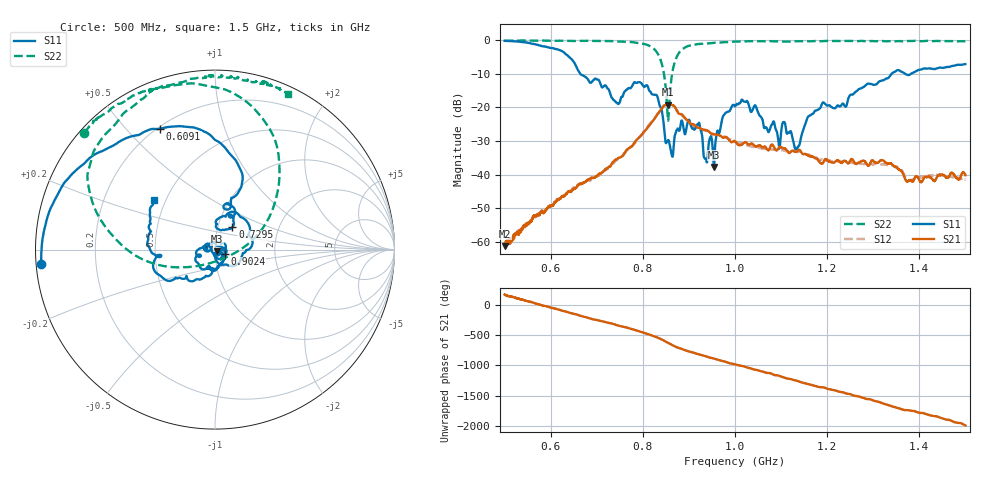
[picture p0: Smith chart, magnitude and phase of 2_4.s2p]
!Agilent Technologies,E8364B,US42250235,A.06.04.32
!Agilent E8364B: A.06.04.32
!Date: Thursday, October 01, 2020 14:38:39
!Correction: S11(Full 2 Port(1,2)) S21(Full 2 Port(1,2)) S12(Full 2 Port(1,2)) S22(Full 2 Port(1,2))
!S2P File: Measurements: S11, S21, S12, S22:
# Hz S  dB  R 50
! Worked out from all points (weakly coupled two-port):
!   2650 points, 500 MHz to 1.5 GHz, reference 50 ohm
!   highest |S21| = -19.19 dB at 853.7 MHz (marker M1); lowest = -61.1 dB at 500.4 MHz (marker M2)
!   lowest |S11| = -37.7 dB at 954.1 MHz (marker M3), VSWR 1.03, Z = 50.9 - j0.921 ohm
!   |S11| at or under -10 dB: 663.9 MHz to 1.34 GHz (676 MHz wide, 67.5 % of centre); 1.369 GHz to 1.382 GHz (13.18 MHz wide, 0.958 % of centre)
!   |S22| runs from -24.0 to -0.1 dB; largest |S21 - S12| = 0.0049
!   S11 on the Smith chart (normalised r, x): 500 MHz: 0.01, -0.04; 609.1 MHz: 0.21, +0.62; 729.5 MHz: 1.17, +0.30; 902.4 MHz: 1.11, -0.06; 1.5 GHz: 0.43, +0.30
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5e8  -0.24 -175.2  -60.72 166.0  -61.19 165.9  -0.18 138.3
5.003775e8  -0.25 -175.4  -61.11 164.0  -60.39 160.9  -0.18 138.2
6.090978e8  -2.62 114.4  -48.15 -63.3  -47.91 -65.5  -0.25 127.6
6.668554e8  -10.33 71.9  -42.61 170.9  -42.82 168.7  -0.25 120.5
7.295206e8  -16.07 52.1  -37.44 53.3  -37.29 51.1  -0.31 113.1
8.012458e8  -13.66 24.7  -27.36 -101.0  -27.63 -99.7  -1.12 83.7
8.337108e8  -17.88 -46.4  -21.63 170.6  -21.82 170.3  -4.39 53.6
8.537184e8  -29.93 -68.9  -19.19 94.5  -19.24 95.6  -22.71 -37.7
8.718384e8  -27.38 80.8  -20.40 22.5  -20.41 25.1  -5.55 176.5
9.02416e8  -24.54 -25.9  -24.64 -56.8  -24.66 -57.8  -1.64 148.7
9.235561e8  -25.45 -71.5  -26.14 -102.2  -26.70 -99.3  -1.16 139.1
9.360136e8  -35.27 -64.5  -26.69 -129.1  -26.92 -125.6  -1.04 133.4
9.541336e8  -37.71 -44.0  -27.93 -168.0  -28.03 -166.4  -0.83 125.0
1.000189e9  -19.65 -97.9  -30.06 93.9  -30.08 95.7  -0.45 113.5
1.044734e9  -19.52 -172.4  -31.64 6.5  -31.84 8.7  -0.37 111.8
1.094941e9  -30.94 155.8  -31.99 -90.0  -32.90 -88.8  -0.36 107.7
1.106267e9  -24.36 162.3  -32.07 -120.2  -32.78 -113.8  -0.45 105.3
1.133447e9  -32.20 67.8  -33.12 -172.6  -33.18 -170.1  -0.35 98.8
1.166667e9  -22.01 -58.3  -34.45 115.8  -34.54 118.8  -0.36 93.3
1.333522e9  -11.15 -144.0  -36.69 144.0  -37.20 144.2  -0.34 79.1
1.37467e9  -10.38 -174.2  -42.00 61.9  -41.65 55.0  -0.30 74.1
1.5e9  -7.14 140.6  -40.13 169.9  -41.45 168.6  -0.38 64.7
